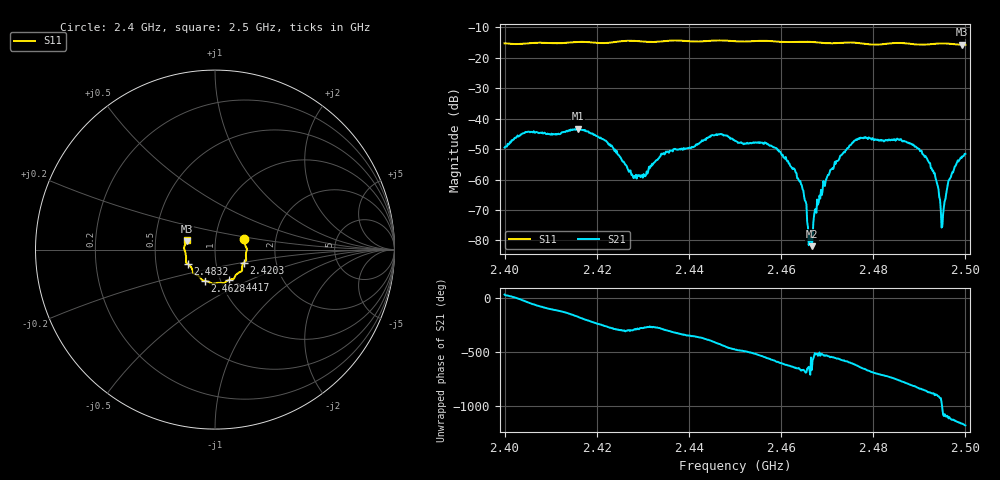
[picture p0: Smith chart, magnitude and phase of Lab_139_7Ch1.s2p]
# Hz S RI R 50
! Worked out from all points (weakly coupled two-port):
!   601 points, 2.4 GHz to 2.5 GHz, reference 50 ohm
!   highest |S21| = -43.28 dB at 2.4158 GHz (marker M1); lowest = -81.9 dB at 2.4667 GHz (marker M2)
!   lowest |S11| = -15.7 dB at 2.4993 GHz (marker M3), VSWR 1.39, Z = 36.2 + j3.4 ohm
!   |S11| at or under -10 dB: start of sweep to end of sweep
!   S12 and S22 are empty: the file has one direction only
!   S11 on the Smith chart (normalised r, x): 2.4 GHz: 1.38, +0.17; 2.4203 GHz: 1.36, -0.21; 2.4417 GHz: 1.09, -0.38; 2.4628 GHz: 0.84, -0.30; 2.4832 GHz: 0.73, -0.12; 2.5 GHz: 0.73, +0.08
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2.4e9  0.163 0.0599  0.00295 0.00162  0 0  0 0
2.415833e9  0.1741 -0.0563  -0.00683 -0.000602  0 0  0 0
2.416667e9  0.1736 -0.0595  -0.00652 0.00103  0 0  0 0
2.420333e9  0.1596 -0.0742  -0.00223 0.00448  0 0  0 0
2.428167e9  0.1466 -0.1215  0.000415 0.00106  0 0  0 0
2.433333e9  0.113 -0.1456  0.000349 0.00217  0 0  0 0
2.441667e9  0.0759 -0.1697  0.0038 -3.93e-06  0 0  0 0
2.45e9  0.0327 -0.1851  -0.00206 -0.00381  0 0  0 0
2.458333e9  -0.0227 -0.1863  -0.0027 0.00205  0 0  0 0
2.462833e9  -0.0568 -0.1739  0.000329 0.00148  0 0  0 0
2.464667e9  -0.0673 -0.1716  0.000443 0.000536  0 0  0 0
2.466667e9  -0.0745 -0.1669  4.7e-05 6.53e-05  0 0  0 0
2.469667e9  -0.0883 -0.1508  -0.000937 -7.06e-05  0 0  0 0
2.473167e9  -0.1126 -0.1366  -0.00206 0.0015  0 0  0 0
2.476833e9  -0.123 -0.1248  0.000268 0.00476  0 0  0 0
2.483167e9  -0.1519 -0.0794  0.00435 -0.00051  0 0  0 0
2.483333e9  -0.153 -0.0787  0.00449 -0.000691  0 0  0 0
2.491833e9  -0.166 -0.0142  -0.00181 -0.000987  0 0  0 0
2.495e9  -0.1725 0.0101  9.14e-05 0.000146  0 0  0 0
2.496667e9  -0.1691 0.0207  0.000869 -0.000588  0 0  0 0
2.499333e9  -0.158 0.0457  0.000294 -0.00239  0 0  0 0
2.5e9  -0.156 0.0535  -0.000394 -0.00263  0 0  0 0
